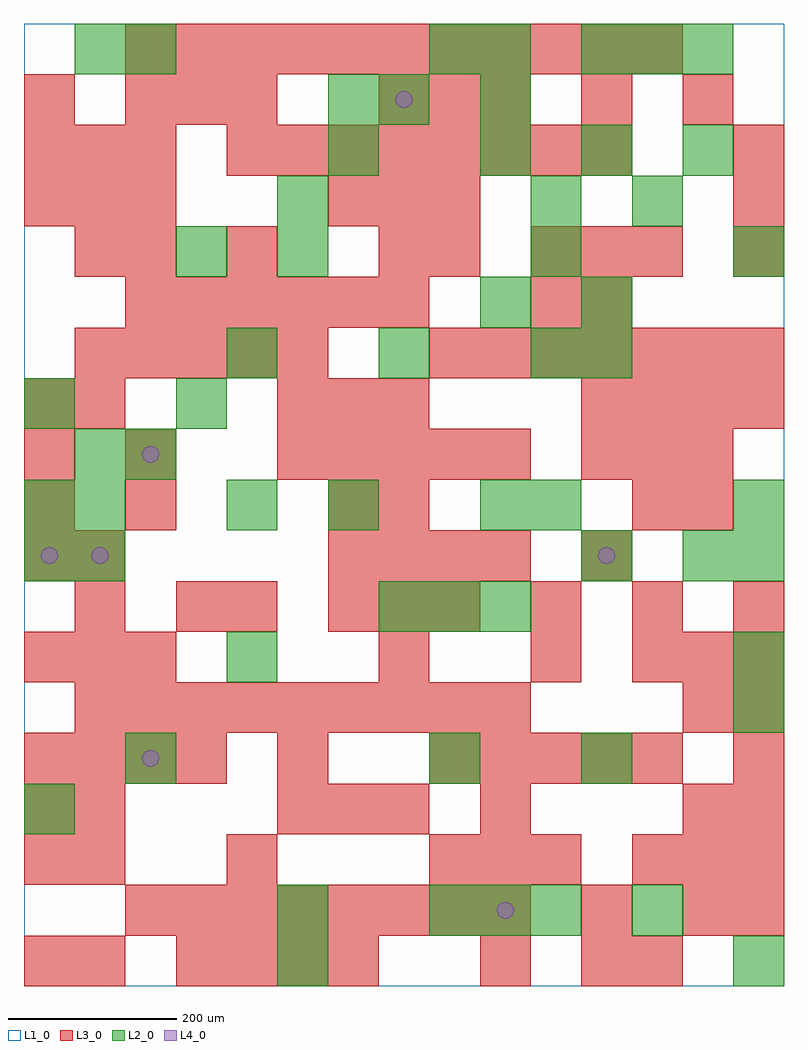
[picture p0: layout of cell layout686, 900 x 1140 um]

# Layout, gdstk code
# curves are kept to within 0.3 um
import gdstk
lib = gdstk.Library(unit=1e-6, precision=1e-09)
def R(c, l, rs):  # rectangles x0, y0, x1, y1
    for r in rs: c.add(gdstk.rectangle(r[:2], r[2:], *l))
def A(c, l, x, y, w, h, nx, ny, dx, dy):  # array of equal rectangles
    R(c, l, [(x+i*dx, y+j*dy, x+i*dx+w, y+j*dy+h) for i in range(nx) for j in range(ny)])
def P(c, l, *ps):  # polygons
    for p in ps: c.add(gdstk.Polygon(p, *l))
L1_0 = (1, 0)
L2_0 = (2, 0)
L3_0 = (3, 0)
L4_0 = (4, 0)

layout686 = lib.new_cell('layout686')
R(layout686, L1_0, [(0,0,900,1140)])
A(layout686, L2_0, 480, 60, 60, 60, 3, 1, 60, 0)
A(layout686, L2_0, 660, 240, 60, 60, 1, 3, 0, 240)
A(layout686, L2_0, 420, 420, 60, 60, 3, 1, 60, 0)
A(layout686, L2_0, 60, 480, 60, 60, 1, 3, 0, 60)
A(layout686, L2_0, 540, 540, 60, 60, 1, 3, 0, 240)
A(layout686, L2_0, 240, 720, 60, 60, 3, 1, 180, 0)
A(layout686, L2_0, 540, 960, 60, 60, 3, 1, 120, 0)
A(layout686, L2_0, 660, 1080, 60, 60, 3, 1, 60, 0)
R(layout686, L2_0, [(300,0,360,60), (840,0,900,60), (300,60,360,120), (720,60,780,120), (0,180,60,240), (120,240,180,300), (480,240,540,300), (840,300,900,360), (240,360,300,420), (840,360,900,420), (0,480,60,540), (780,480,840,540), (840,480,900,540), (0,540,60,600), (240,540,300,600), (360,540,420,600), (600,540,660,600), (840,540,900,600), (120,600,180,660), (0,660,60,720), (180,660,240,720), (660,780,720,840), (180,840,240,900), (300,840,360,900), (600,840,660,900), (840,840,900,900), (300,900,360,960), (600,900,660,960), (720,900,780,960), (360,960,420,1020), (360,1020,420,1080), (420,1020,480,1080), (60,1080,120,1140), (120,1080,180,1140), (480,1080,540,1140), (540,1080,600,1140)])
A(layout686, L3_0, 180, 0, 60, 60, 4, 1, 60, 0)
A(layout686, L3_0, 120, 60, 60, 60, 8, 1, 60, 0)
A(layout686, L3_0, 780, 60, 60, 60, 1, 3, 0, 120)
A(layout686, L3_0, 480, 120, 60, 60, 3, 1, 60, 0)
A(layout686, L3_0, 720, 120, 60, 60, 3, 2, 60, 240)
A(layout686, L3_0, 300, 180, 60, 60, 3, 2, 60, 480)
A(layout686, L3_0, 840, 180, 60, 60, 1, 3, 0, 60)
A(layout686, L3_0, 0, 240, 60, 60, 4, 1, 60, 0)
A(layout686, L3_0, 480, 240, 60, 60, 5, 1, 60, 0)
A(layout686, L3_0, 60, 300, 60, 60, 9, 1, 60, 0)
A(layout686, L3_0, 0, 360, 60, 60, 3, 2, 60, 540)
A(layout686, L3_0, 360, 420, 60, 60, 3, 2, 60, 480)
A(layout686, L3_0, 600, 420, 60, 60, 3, 1, 120, 0)
A(layout686, L3_0, 0, 480, 60, 60, 1, 4, 0, 60)
A(layout686, L3_0, 60, 480, 60, 60, 1, 3, 0, 180)
A(layout686, L3_0, 360, 480, 60, 60, 4, 1, 60, 0)
A(layout686, L3_0, 300, 600, 60, 60, 5, 1, 60, 0)
A(layout686, L3_0, 660, 600, 60, 60, 3, 1, 60, 0)
A(layout686, L3_0, 660, 660, 60, 60, 4, 1, 60, 0)
A(layout686, L3_0, 60, 720, 60, 60, 5, 1, 60, 0)
A(layout686, L3_0, 480, 720, 60, 60, 7, 1, 60, 0)
A(layout686, L3_0, 120, 780, 60, 60, 6, 1, 60, 0)
A(layout686, L3_0, 600, 840, 60, 60, 3, 1, 60, 0)
A(layout686, L3_0, 840, 840, 60, 60, 1, 3, 0, 60)
A(layout686, L3_0, 0, 960, 60, 60, 3, 1, 60, 0)
A(layout686, L3_0, 240, 960, 60, 60, 8, 1, 60, 0)
A(layout686, L3_0, 120, 1020, 60, 60, 3, 1, 60, 0)
A(layout686, L3_0, 420, 1020, 60, 60, 3, 1, 60, 0)
A(layout686, L3_0, 120, 1080, 60, 60, 11, 1, 60, 0)
R(layout686, L3_0, [(0,0,60,60), (60,0,120,60), (540,0,600,60), (660,0,720,60), (720,0,780,60), (660,60,720,120), (840,60,900,120), (0,120,60,180), (60,120,120,180), (240,120,300,180), (0,180,60,240), (60,180,120,240), (540,180,600,240), (300,240,360,300), (420,360,480,420), (600,360,660,420), (60,420,120,480), (180,420,240,480), (240,420,300,480), (660,480,720,540), (120,540,180,600), (360,540,420,600), (420,540,480,600), (720,540,780,600), (780,540,840,600), (120,600,180,660), (600,780,660,840), (660,780,720,840), (120,840,180,900), (240,840,300,900), (420,840,480,900), (480,840,540,900), (0,1020,60,1080), (660,1020,720,1080), (780,1020,840,1080)])
P(layout686, L4_0, [(40,510),(39.239,513.827),(37.071,517.071),(33.827,519.239),(30,520),(26.173,519.239),(22.929,517.071),(20.761,513.827),(20,510),(20.761,506.173),(22.929,502.929),(26.173,500.761),(30,500),(33.827,500.761),(37.071,502.929),(39.239,506.173)],
  [(100,510),(99.239,513.827),(97.071,517.071),(93.827,519.239),(90,520),(86.173,519.239),(82.929,517.071),(80.761,513.827),(80,510),(80.761,506.173),(82.929,502.929),(86.173,500.761),(90,500),(93.827,500.761),(97.071,502.929),(99.239,506.173)],
  [(160,270),(159.239,273.827),(157.071,277.071),(153.827,279.239),(150,280),(146.173,279.239),(142.929,277.071),(140.761,273.827),(140,270),(140.761,266.173),(142.929,262.929),(146.173,260.761),(150,260),(153.827,260.761),(157.071,262.929),(159.239,266.173)],
  [(160,630),(159.239,633.827),(157.071,637.071),(153.827,639.239),(150,640),(146.173,639.239),(142.929,637.071),(140.761,633.827),(140,630),(140.761,626.173),(142.929,622.929),(146.173,620.761),(150,620),(153.827,620.761),(157.071,622.929),(159.239,626.173)],
  [(460,1050),(459.239,1053.827),(457.071,1057.071),(453.827,1059.239),(450,1060),(446.173,1059.239),(442.929,1057.071),(440.761,1053.827),(440,1050),(440.761,1046.173),(442.929,1042.929),(446.173,1040.761),(450,1040),(453.827,1040.761),(457.071,1042.929),(459.239,1046.173)],
  [(580,90),(579.239,93.827),(577.071,97.071),(573.827,99.239),(570,100),(566.173,99.239),(562.929,97.071),(560.761,93.827),(560,90),(560.761,86.173),(562.929,82.929),(566.173,80.761),(570,80),(573.827,80.761),(577.071,82.929),(579.239,86.173)],
  [(700,510),(699.239,513.827),(697.071,517.071),(693.827,519.239),(690,520),(686.173,519.239),(682.929,517.071),(680.761,513.827),(680,510),(680.761,506.173),(682.929,502.929),(686.173,500.761),(690,500),(693.827,500.761),(697.071,502.929),(699.239,506.173)])

lib.write_gds('layout686.gds')
